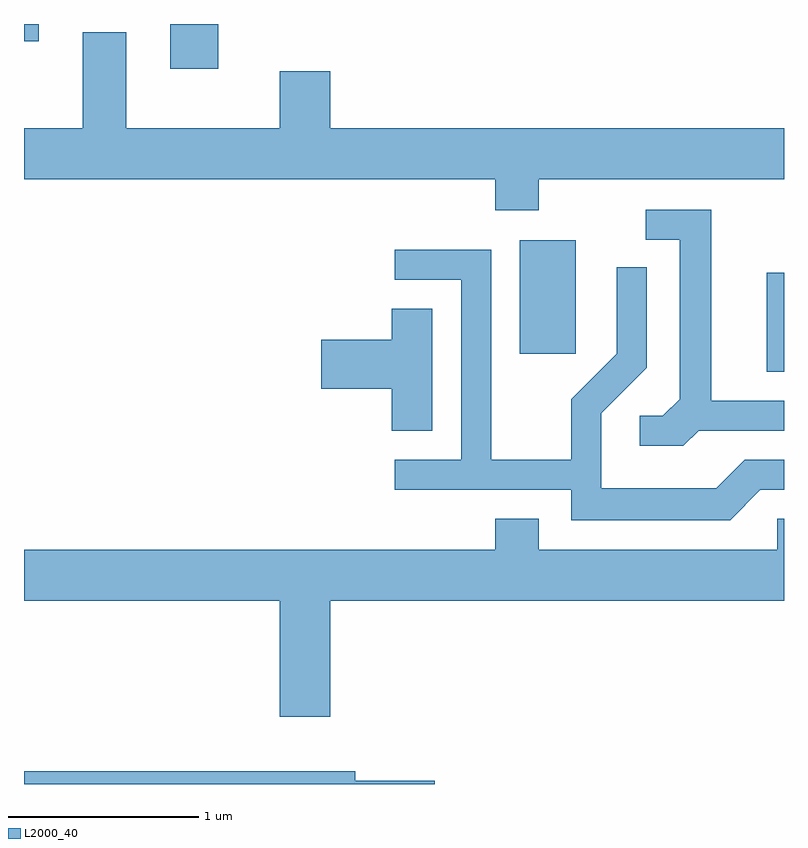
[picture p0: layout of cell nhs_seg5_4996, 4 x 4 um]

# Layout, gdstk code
import gdstk
lib = gdstk.Library(unit=1e-6, precision=1e-09)
def R(c, l, rs):  # rectangles x0, y0, x1, y1
    for r in rs: c.add(gdstk.rectangle(r[:2], r[2:], *l))
def P(c, l, *ps):  # polygons
    for p in ps: c.add(gdstk.Polygon(p, *l))
L2000_40 = (2000, 40)

nhs_seg5_4996 = lib.new_cell('nhs_seg5_4996')
R(nhs_seg5_4996, L2000_40, [(337.521,1440.241,337.611,1440.764), (336.221,1440.336,336.514,1440.934), (334.381,1441.836,334.634,1442.072), (333.611,1441.981,333.689,1442.072)])
P(nhs_seg5_4996, L2000_40, [(336.319,1441.256),(337.611,1441.256),(337.611,1441.524),(335.224,1441.524),(335.224,1441.824),(334.956,1441.824),(334.956,1441.524),(334.149,1441.524),(334.149,1442.029),(333.921,1442.029),(333.921,1441.524),(333.611,1441.524),(333.611,1441.256),(336.091,1441.256),(336.091,1441.091),(336.319,1441.091)],
  [(337.162,1439.931),(337.611,1439.931),(337.611,1440.089),(337.229,1440.089),(337.229,1441.094),(336.883,1441.094),(336.883,1440.936),(337.061,1440.936),(337.061,1440.097),(336.974,1440.009),(336.853,1440.009),(336.853,1439.851),(337.082,1439.851)],
  [(337.487,1439.621),(337.611,1439.621),(337.611,1439.779),(337.404,1439.779),(337.254,1439.629),(336.649,1439.629),(336.649,1440.024),(336.889,1440.264),(336.889,1440.793),(336.731,1440.793),(336.731,1440.337),(336.491,1440.097),(336.491,1439.779),(336.069,1439.779),(336.069,1440.884),(335.563,1440.884),(335.563,1440.726),(335.911,1440.726),(335.911,1439.779),(335.563,1439.779),(335.563,1439.621),(336.491,1439.621),(336.491,1439.461),(337.327,1439.461)],
  [(335.759,1440.574),(335.546,1440.574),(335.546,1440.409),(335.176,1440.409),(335.176,1440.151),(335.546,1440.151),(335.546,1439.931),(335.759,1439.931)],
  [(335.224,1439.036),(337.611,1439.036),(337.611,1439.469),(337.576,1439.469),(337.576,1439.304),(336.319,1439.304),(336.319,1439.469),(336.091,1439.469),(336.091,1439.304),(333.611,1439.304),(333.611,1439.036),(334.956,1439.036),(334.956,1438.426),(335.224,1438.426)],
  [(335.774,1438.089),(335.354,1438.089),(335.354,1438.139),(333.611,1438.139),(333.611,1438.072),(335.774,1438.072)])

lib.write_gds('nhs_seg5_4996.gds')
